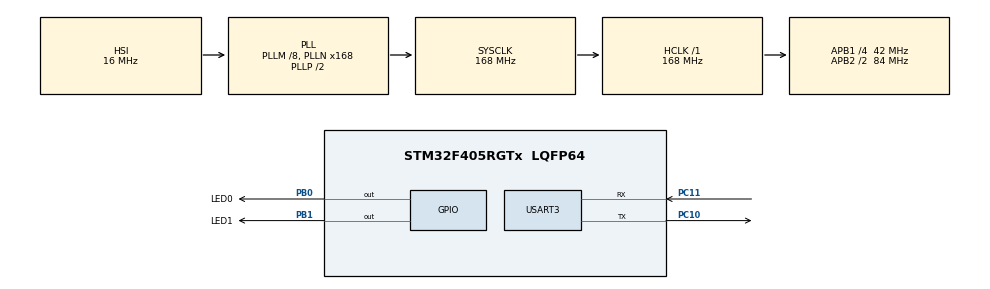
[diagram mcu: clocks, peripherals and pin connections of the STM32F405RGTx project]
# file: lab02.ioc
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FREERTOS.Tasks01=Read_USART,26,128,StartRead,Default,NULL,Dynamic,NULL,NULL;Print_Str,24,128,StartPrint,Default,NULL,Dynamic,NULL,NULL;LED_Control,25,128,StartControl,Default,NULL,Dynamic,NULL,NULL
FREERTOS.configUSE_NEWLIB_REENTRANT=1
Mcu.Family=STM32F4
Mcu.Name=STM32F405RGTx
Mcu.Package=LQFP64
NVIC.PriorityGroup=NVIC_PRIORITYGROUP_4
NVIC.TIM1_UP_TIM10_IRQn=true\:15\:0\:false\:false\:true\:false\:false\:true\:true
NVIC.TimeBase=TIM1_UP_TIM10_IRQn
NVIC.TimeBaseIP=TIM1
NVIC.USART3_IRQn=true\:5\:0\:false\:false\:true\:true\:true\:true\:true
PA13.Mode=Serial_Wire
PA13.Signal=SYS_JTMS-SWDIO
PA14.Mode=Serial_Wire
PA14.Signal=SYS_JTCK-SWCLK
PB0.GPIO_Label=LED0
PB0.Signal=GPIO_Output
PB1.GPIO_Label=LED1
PB1.Signal=GPIO_Output
PC10.Mode=Asynchronous
PC10.Signal=USART3_TX
PC11.Mode=Asynchronous
PC11.Signal=USART3_RX
PH0-OSC_IN.Mode=HSE-External-Oscillator
PH0-OSC_IN.Signal=RCC_OSC_IN
PH1-OSC_OUT.Mode=HSE-External-Oscillator
PH1-OSC_OUT.Signal=RCC_OSC_OUT
ProjectManager.HeapSize=0x200
ProjectManager.StackSize=0x400
ProjectManager.TargetToolchain=STM32CubeIDE
RCC.48MHZClocksFreq_Value=84000000
RCC.AHBFreq_Value=168000000
RCC.APB1CLKDivider=RCC_HCLK_DIV4
RCC.APB1Freq_Value=42000000
RCC.APB1TimFreq_Value=84000000
RCC.APB2CLKDivider=RCC_HCLK_DIV2
RCC.APB2Freq_Value=84000000
RCC.APB2TimFreq_Value=168000000
RCC.CortexFreq_Value=168000000
RCC.HCLKFreq_Value=168000000
RCC.HSE_VALUE=8000000
RCC.HSI_VALUE=16000000
RCC.LSE_VALUE=32768
RCC.PLLM=8
RCC.PLLN=168
RCC.SYSCLKFreq_VALUE=168000000
RCC.SYSCLKSource=RCC_SYSCLKSOURCE_PLLCLK
RCC.VCOOutputFreq_Value=336000000
USART3.VirtualMode=VM_ASYNC
VP_FREERTOS_VS_CMSIS_V2.Mode=CMSIS_V2
VP_SYS_VS_tim1.Mode=TIM1
board=custom

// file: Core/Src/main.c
/* USER CODE BEGIN Header */
/**
  ******************************************************************************
  * @file           : main.c
  * @brief          : Main program body
  ******************************************************************************
  * @attention
  *
  * Copyright (c) 2022 STMicroelectronics.
  * All rights reserved.
  *
  * This software is licensed under terms that can be found in the LICENSE file
  * in the root directory of this software component.
  * If no LICENSE file comes with this software, it is provided AS-IS.
  *
  ******************************************************************************
  */
/* USER CODE END Header */
#include "main.h"
#include "cmsis_os.h"

/* USER CODE BEGIN Includes */
#include "stdio.h"

/* USER CODE END Includes */

UART_HandleTypeDef huart3;

/* Definitions for Read_USART */
osThreadId_t Read_USARTHandle;
const osThreadAttr_t Read_USART_attributes = {
  .name = "Read_USART",
  .stack_size = 128 * 4,
  .priority = (osPriority_t) osPriorityNormal2,
};
/* Definitions for Print_Str */
osThreadId_t Print_StrHandle;
const osThreadAttr_t Print_Str_attributes = {
  .name = "Print_Str",
  .stack_size = 128 * 4,
  .priority = (osPriority_t) osPriorityNormal,
};
/* Definitions for LED_Control */
osThreadId_t LED_ControlHandle;
const osThreadAttr_t LED_Control_attributes = {
  .name = "LED_Control",
  .stack_size = 128 * 4,
  .priority = (osPriority_t) osPriorityNormal1,
};

void SystemClock_Config(void);
static void MX_GPIO_Init(void);
static void MX_USART3_UART_Init(void);
void StartRead(void *argument);
void StartPrint(void *argument);
void StartControl(void *argument);

/* USER CODE BEGIN 0 */
#ifdef __GNUC__
#define PUTCHAR_PROTOTYPE int __io_putchar(int ch)
#else
#define PUTCHAR_PROTOTYPE int fputc(int ch, FILE *f)
#endif /* __GNUC__ */

/**
  * @brief  Retargets the C library printf function to the USART.
  * @param  None
  * @retval None
  */
PUTCHAR_PROTOTYPE
{
  HAL_UART_Transmit(&huart3, (uint8_t *)&ch, 1, HAL_MAX_DELAY);
  return ch;
}

uint8_t rx_data;
uint8_t tx_data[30]="Program's running...\r\n";

void HAL_UART_RxCpltCallback(UART_HandleTypeDef *huart){
    if(huart->Instance == USART3){
        HAL_UART_Transmit(&huart3,&rx_data,sizeof(rx_data), 100);
        HAL_UART_Receive_IT(&huart3, &rx_data, 1);
    }
}
/* USER CODE END 0 */

int main(void)
{

  /* MCU Configuration--------------------------------------------------------*/

  /* Reset of all peripherals, Initializes the Flash interface and the Systick. */
  HAL_Init();

  /* Configure the system clock */
  SystemClock_Config();

  /* Initialize all configured peripherals */
  MX_GPIO_Init();
  MX_USART3_UART_Init();

  /* Init scheduler */
  osKernelInitialize();

  /* Create the thread(s) */
  /* creation of Read_USART */
  Read_USARTHandle = osThreadNew(StartRead, NULL, &Read_USART_attributes);

  /* creation of Print_Str */
  Print_StrHandle = osThreadNew(StartPrint, NULL, &Print_Str_attributes);

  /* creation of LED_Control */
  LED_ControlHandle = osThreadNew(StartControl, NULL, &LED_Control_attributes);

  /* Start scheduler */
  osKernelStart();

  /* We should never get here as control is now taken by the scheduler */
  /* Infinite loop */
  while (1)
  {

  }
}

void SystemClock_Config(void)
{
  RCC_OscInitTypeDef RCC_OscInitStruct = {0};
  RCC_ClkInitTypeDef RCC_ClkInitStruct = {0};

  /** Configure the main internal regulator output voltage
  */
  __HAL_RCC_PWR_CLK_ENABLE();
  __HAL_PWR_VOLTAGESCALING_CONFIG(PWR_REGULATOR_VOLTAGE_SCALE1);

  /** Initializes the RCC Oscillators according to the specified parameters
  * in the RCC_OscInitTypeDef structure.
  */
  RCC_OscInitStruct.OscillatorType = RCC_OSCILLATORTYPE_HSI;
  RCC_OscInitStruct.HSIState = RCC_HSI_ON;
  RCC_OscInitStruct.HSICalibrationValue = RCC_HSICALIBRATION_DEFAULT;
  RCC_OscInitStruct.PLL.PLLState = RCC_PLL_ON;
  RCC_OscInitStruct.PLL.PLLSource = RCC_PLLSOURCE_HSI;
  RCC_OscInitStruct.PLL.PLLM = 8;
  RCC_OscInitStruct.PLL.PLLN = 168;
  RCC_OscInitStruct.PLL.PLLP = RCC_PLLP_DIV2;
  RCC_OscInitStruct.PLL.PLLQ = 4;
  if (HAL_RCC_OscConfig(&RCC_OscInitStruct) != HAL_OK)
  {
    Error_Handler();
  }

  /** Initializes the CPU, AHB and APB buses clocks
  */
  RCC_ClkInitStruct.ClockType = RCC_CLOCKTYPE_HCLK|RCC_CLOCKTYPE_SYSCLK
                              |RCC_CLOCKTYPE_PCLK1|RCC_CLOCKTYPE_PCLK2;
  RCC_ClkInitStruct.SYSCLKSource = RCC_SYSCLKSOURCE_PLLCLK;
  RCC_ClkInitStruct.AHBCLKDivider = RCC_SYSCLK_DIV1;
  RCC_ClkInitStruct.APB1CLKDivider = RCC_HCLK_DIV4;
  RCC_ClkInitStruct.APB2CLKDivider = RCC_HCLK_DIV2;

  if (HAL_RCC_ClockConfig(&RCC_ClkInitStruct, FLASH_LATENCY_5) != HAL_OK)
  {
    Error_Handler();
  }
}

static void MX_USART3_UART_Init(void)
{

  huart3.Instance = USART3;
  huart3.Init.BaudRate = 115200;
  huart3.Init.WordLength = UART_WORDLENGTH_8B;
  huart3.Init.StopBits = UART_STOPBITS_1;
  huart3.Init.Parity = UART_PARITY_NONE;
  huart3.Init.Mode = UART_MODE_TX_RX;
  huart3.Init.HwFlowCtl = UART_HWCONTROL_NONE;
  huart3.Init.OverSampling = UART_OVERSAMPLING_16;
  if (HAL_UART_Init(&huart3) != HAL_OK)
  {
    Error_Handler();
  }

}

static void MX_GPIO_Init(void)
{
  GPIO_InitTypeDef GPIO_InitStruct = {0};

  /* GPIO Ports Clock Enable */
  __HAL_RCC_GPIOH_CLK_ENABLE();
  __HAL_RCC_GPIOB_CLK_ENABLE();
  __HAL_RCC_GPIOA_CLK_ENABLE();
  __HAL_RCC_GPIOC_CLK_ENABLE();

  /*Configure GPIO pin Output Level */
  HAL_GPIO_WritePin(GPIOB, LED0_Pin|LED1_Pin, GPIO_PIN_RESET);

  /*Configure GPIO pins : LED0_Pin LED1_Pin */
  GPIO_InitStruct.Pin = LED0_Pin|LED1_Pin;
  GPIO_InitStruct.Mode = GPIO_MODE_OUTPUT_PP;
  GPIO_InitStruct.Pull = GPIO_NOPULL;
  GPIO_InitStruct.Speed = GPIO_SPEED_FREQ_LOW;
  HAL_GPIO_Init(GPIOB, &GPIO_InitStruct);

}

void StartRead(void *argument)
{
  /* USER CODE BEGIN 5 */
	//HAL_UART_Receive_IT(&huart3, &rx_data, 1);
  /* Infinite loop */
  for(;;)
  {
    osDelay(500);
  }
  /* USER CODE END 5 */
}

void StartPrint(void *argument)
{
  /* USER CODE BEGIN StartPrint */
  /* Infinite loop */
  for(;;)
  {
	HAL_UART_Transmit(&huart3,tx_data, sizeof(tx_data), 1000);
    osDelay(500);
  }
  /* USER CODE END StartPrint */
}

void StartControl(void *argument)
{
  /* USER CODE BEGIN StartControl */
  /* Infinite loop */
  for(;;)
  {
	  if (HAL_UART_Receive(&huart3, &rx_data, 2, 200) == HAL_OK){
	  		switch(rx_data){

	  		case '0':
	  			HAL_GPIO_TogglePin(GPIOB, LED1_Pin);
	  		break;

	  		case '1':
	  			HAL_GPIO_TogglePin(GPIOB, LED0_Pin);
	  		break;

	  		}

	  	    HAL_Delay(500);

	  		HAL_GPIO_WritePin(GPIOB, LED0_Pin | LED1_Pin, GPIO_PIN_RESET);
	  		}
    osDelay(1);
  }
  /* USER CODE END StartControl */
}

void HAL_TIM_PeriodElapsedCallback(TIM_HandleTypeDef *htim)
{
  if (htim->Instance == TIM1) {
    HAL_IncTick();
  }
}

void Error_Handler(void)
{
  __disable_irq();
  while (1)
  {
  }
}
